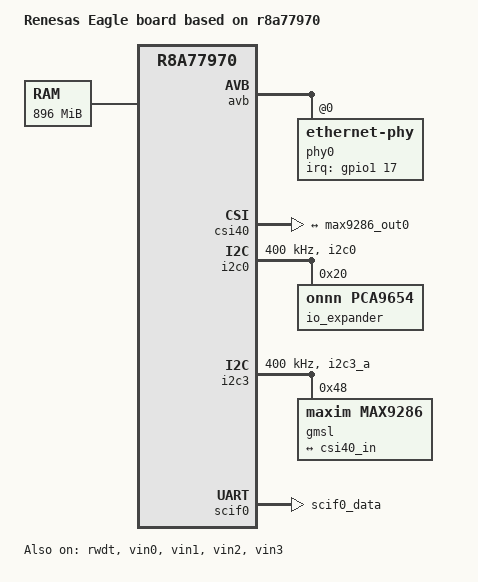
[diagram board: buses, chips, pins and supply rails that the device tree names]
/*
 * Device Tree Source for the Eagle board
 *
 * Copyright (C) 2016-2017 Renesas Electronics Corp.
 * Copyright (C) 2017 Cogent Embedded, Inc.
 *
 * This file is licensed under the terms of the GNU General Public License
 * version 2.  This program is licensed "as is" without any warranty of any
 * kind, whether express or implied.
 */

#include <dt-bindings/gpio/gpio.h>

/dts-v1/;
#include "r8a77970.dtsi"

/ {
	model = "Renesas Eagle board based on r8a77970";
	compatible = "renesas,eagle", "renesas,r8a77970";

	aliases {
		serial0 = &scif0;
		ethernet0 = &avb;
	};

	chosen {
		bootargs = "ignore_loglevel rw root=/dev/nfs ip=dhcp";
		stdout-path = "serial0:115200n8";
	};

	memory@48000000 {
		device_type = "memory";
		/* first 128MB is reserved for secure area. */
		reg = <0x0 0x48000000 0x0 0x38000000>;
	};
};

&avb {
	renesas,no-ether-link;
	phy-handle = <&phy0>;
	status = "okay";

	phy0: ethernet-phy@0 {
		rxc-skew-ps = <1500>;
		reg = <0>;

		interrupt-parent = <&gpio1>;
		interrupts = <17 IRQ_TYPE_LEVEL_LOW>;
	};
};

&extal_clk {
	clock-frequency = <16666666>;
};

&extalr_clk {
	clock-frequency = <32768>;
};

&rwdt {
	timeout-sec = <60>;
	status = "okay";
};

&csi40 {
	status = "okay";

	ports {
		#address-cells = <1>;
		#size-cells = <0>;

		port@0 {
			reg = <0>;

			csi40_in: endpoint {
				clock-lanes = <0>;
				data-lanes = <1 2 3 4>;
				remote-endpoint = <&max9286_out0>;
			};
		};
	};
};

&i2c0 {
	pinctrl-0 = <&i2c0_pins>;
	pinctrl-names = "default";

	status = "okay";
	clock-frequency = <400000>;

	io_expander: gpio@20 {
		compatible = "onnn,pca9654";
		reg = <0x20>;
		gpio-controller;
		#gpio-cells = <2>;

		max_9286_pwdn {
			gpio-hog;
			gpios = <0x0 0x0>;
			output-high;
			line-name = "eagle-pca9654-max9286-pwdn";
		};
	};
};

&i2c3 {
	pinctrl-0 = <&i2c3_pins>;
	pinctrl-names = "default";

	status = "okay";
	clock-frequency = <400000>;

	gmsl: gmsl-deserializer@0 {
		compatible = "maxim,max9286";
		reg = <0x48>;

		#address-cells = <1>;
		#size-cells = <0>;

		ports {
			#address-cells = <1>;
			#size-cells = <0>;

			port@0 {
				reg = <0>;
				max9286_in0: endpoint {
				};
			};

			port@1 {
				reg = <1>;
				max9286_in1: endpoint {
				};
			};

			port@2 {
				reg = <2>;
				max9286_in2: endpoint {
				};
			};

			port@3 {
				reg = <3>;
				max9286_in3: endpoint {
				};
			};

			port@4 {
				reg = <4>;
				max9286_out0: endpoint {
					clock-lanes = <0>;
					data-lanes = <1 2 3 4>;
					remote-endpoint = <&csi40_in>;
				};
			};
		};

		i2c@0 {
			#address-cells = <1>;
			#size-cells = <0>;
			reg = <0>;

			status = "disabled";
		};

		i2c@1 {
			#address-cells = <1>;
			#size-cells = <0>;
			reg = <1>;

			status = "disabled";
		};

		i2c@2 {
			#address-cells = <1>;
			#size-cells = <0>;
			reg = <2>;

			status = "disabled";
		};

		i2c@3 {
			#address-cells = <1>;
			#size-cells = <0>;
			reg = <3>;

			status = "disabled";
		};
	};
};

&pfc {
	i2c0_pins: i2c0 {
		groups = "i2c0";
		function = "i2c0";
	};

	i2c3_pins: i2c3 {
		groups = "i2c3_a";
		function = "i2c3";
	};

	scif0_pins: scif0 {
		groups = "scif0_data";
		function = "scif0";
	};
};

&scif0 {
	pinctrl-0 = <&scif0_pins>;
	pinctrl-names = "default";

	status = "okay";
};

&vin0 {
	status = "okay";
};

&vin1 {
	status = "okay";
};

&vin2 {
	status = "okay";
};

&vin3 {
	status = "okay";
};
